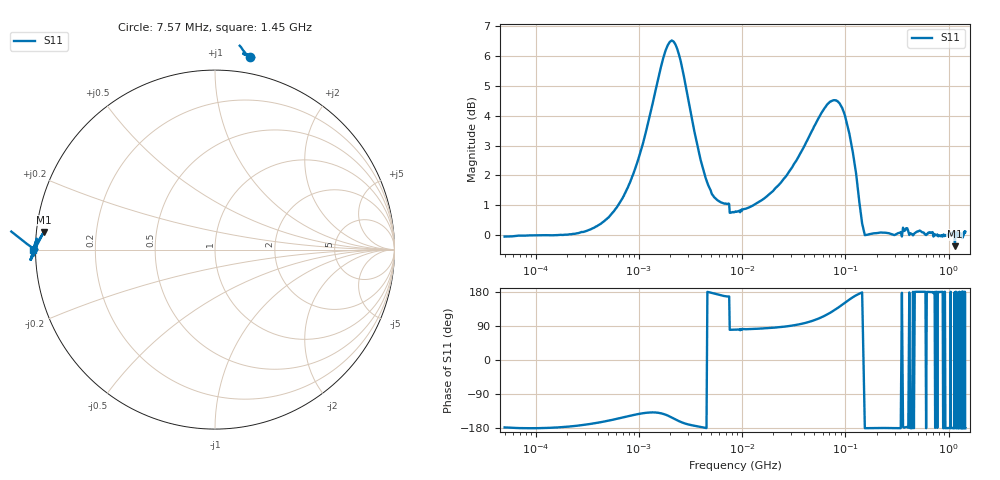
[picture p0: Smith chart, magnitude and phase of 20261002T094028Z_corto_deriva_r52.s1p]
! piloto_deriva / corto_deriva / r52
# HZ S RI R 50
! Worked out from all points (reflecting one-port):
!   501 points, 50 kHz to 1.45 GHz, reference 50 ohm
!   lowest |S11| = -0.4 dB at 1.149 GHz (marker M1), VSWR 47.42, Z = 1.06 + j2.56 ohm
!   phase of S11 starts at -178 deg and turns -2 deg over the sweep
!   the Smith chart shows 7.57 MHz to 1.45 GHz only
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50000  -0.994 -0.0366
183000  -0.9996 -0.0522
363500  -1.004 -0.2243
658000  -1.015 -0.5118
1180000  -1.136 -0.9787
1630000  -1.476 -1.212
1990000  -1.809 -1.079
2170000  -1.901 -0.9105
2440000  -1.9 -0.6405
3070000  -1.629 -0.2674
4330000  -1.263 -0.0306
7300000  -1.103 0.2419
7750000  0.1948 1.074
8560000  0.1871 1.079
1.9e7  0.1091 1.173
3.16e7  -0.0352 1.314
4.69e7  -0.3227 1.455
6.76e7  -0.8616 1.418
8.02e7  -1.157 1.219
9.46e7  -1.361 0.8771
9.82e7  -1.385 0.7824
1e8  -1.389 0.7372
1.18e8  -1.332 0.3391
1.36e8  -1.135 0.1005
1.63e8  -1.002 -0.00362
4.06e8  -1.015 -0.0211
1.1485e9  -0.9537 0.098
1.45e9  -1.014 -0.00109
